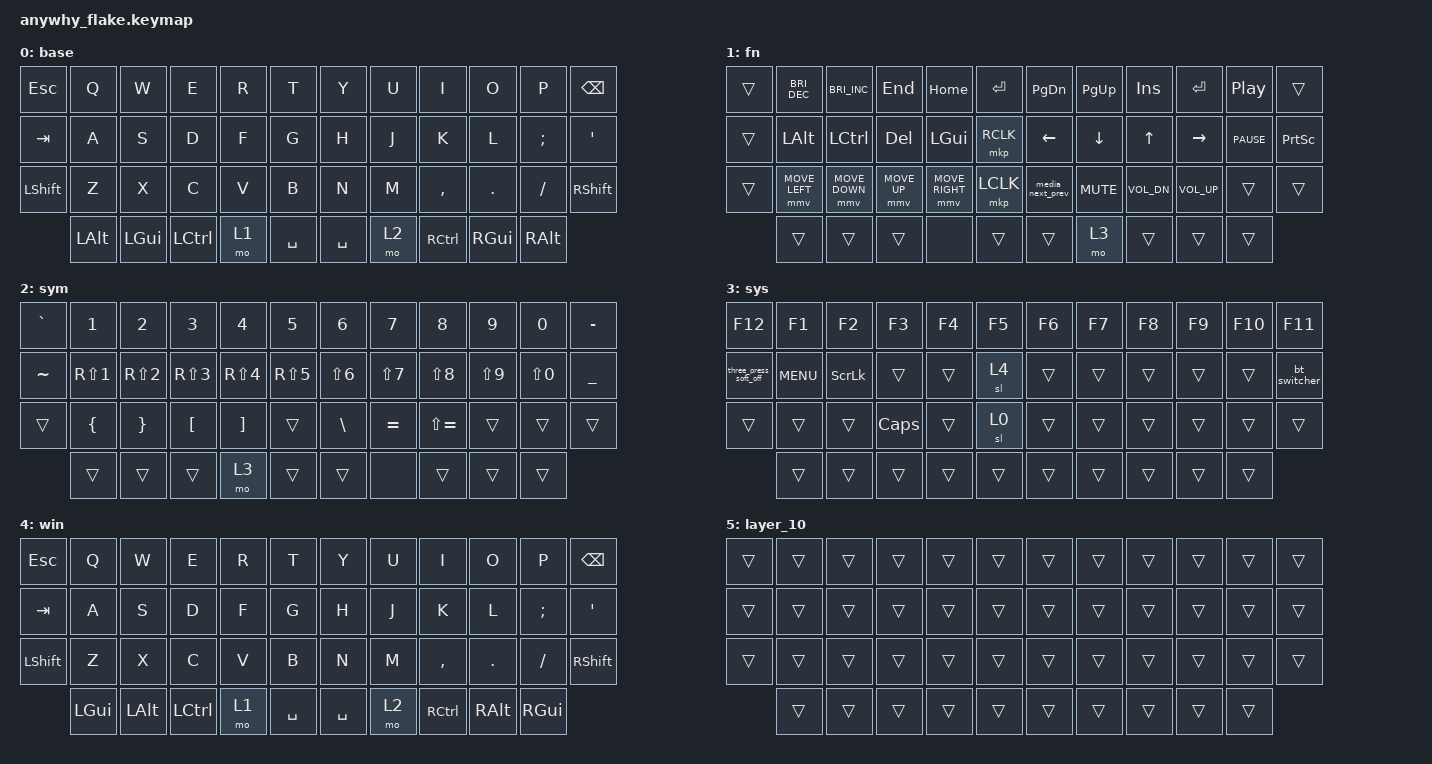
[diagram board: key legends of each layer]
#include <behaviors.dtsi>
#include <dt-bindings/zmk/bt.h>
#include <dt-bindings/zmk/keys.h>
#include <dt-bindings/zmk/pointing.h>

/ {
    combos {
        compatible = "zmk,combos";

        l_studio {
            bindings = <&studio_or_reset 0 0>;
            key-positions = <0 5 39>;
        };

        r_studio {
            bindings = <&studio_or_reset 0 0>;
            key-positions = <6 11 42>;
        };
    };

    macros {
        bt_clr_0: bt_clr_0 {
            compatible = "zmk,behavior-macro";
            #binding-cells = <0>;
            bindings = <&bt BT_SEL 0 &bt BT_CLR>;
            label = "BT_CLR_0";
        };

        bt_clr_1: bt_clr_1 {
            compatible = "zmk,behavior-macro";
            #binding-cells = <0>;
            bindings = <&bt BT_SEL 1 &bt BT_CLR>;
            label = "BT_CLR_1";
        };

        bt_clr_2: bt_clr_2 {
            compatible = "zmk,behavior-macro";
            #binding-cells = <0>;
            bindings = <&bt BT_SEL 2 &bt BT_CLR>;
            label = "BT_CLR_2";
        };

        bt_clr_3: bt_clr_3 {
            compatible = "zmk,behavior-macro";
            #binding-cells = <0>;
            bindings = <&bt BT_SEL 3 &bt BT_CLR>;
            label = "BT_CLR_3";
        };

        bt_clr_4: bt_clr_4 {
            compatible = "zmk,behavior-macro";
            #binding-cells = <0>;
            bindings = <&bt BT_SEL 4 &bt BT_CLR>;
            label = "BT_CLR_4";
        };
    };

    behaviors {
        bt0: bt0 {
            compatible = "zmk,behavior-mod-morph";
            label = "BT0";
            bindings = <&bt BT_SEL 0>, <&bt_clr_0>;

            #binding-cells = <0>;
            mods = <(MOD_LSFT|MOD_RSFT)>;
        };

        bt1: bt1 {
            compatible = "zmk,behavior-mod-morph";
            label = "BT1";
            bindings = <&bt BT_SEL 1>, <&bt_clr_1>;

            #binding-cells = <0>;
            mods = <(MOD_LSFT|MOD_RSFT)>;
        };

        bt2: bt2 {
            compatible = "zmk,behavior-mod-morph";
            label = "BT2";
            bindings = <&bt BT_SEL 2>, <&bt_clr_2>;

            #binding-cells = <0>;
            mods = <(MOD_LSFT|MOD_RSFT)>;
        };

        bt3: bt3 {
            compatible = "zmk,behavior-mod-morph";
            label = "BT3";
            bindings = <&bt BT_SEL 3>, <&bt_clr_3>;

            #binding-cells = <0>;
            mods = <(MOD_LSFT|MOD_RSFT)>;
        };

        bt4: bt4 {
            compatible = "zmk,behavior-mod-morph";
            label = "BT4";
            bindings = <&bt BT_SEL 4>, <&bt_clr_4>;

            #binding-cells = <0>;
            mods = <(MOD_LSFT|MOD_RSFT)>;
        };

        studio_or_reset: studio_or_reset {
            compatible = "zmk,behavior-hold-tap";
            label = "STUDIO_OR_RESET";
            bindings = <&sys_reset>, <&studio_unlock>;

            #binding-cells = <2>;
            tapping-term-ms = <10000>;
        };

        bt_switcher: bt_switcher {
            compatible = "zmk,behavior-tap-dance";
            label = "BT_SWITCHER";
            #binding-cells = <0>;
            bindings = <&bt0>, <&bt1>, <&bt2>, <&bt3>, <&bt4>;

            tapping-term-ms = <300>;
        };

        media_next_prev: media_next_prev {
            compatible = "zmk,behavior-tap-dance";
            label = "MEDIA_NEXT_PREV";
            #binding-cells = <0>;
            bindings = <&kp C_NEXT>, <&kp C_PREV>;

            tapping-term-ms = <300>;
        };

        three_press_soft_off: three_press_soft_off {
            compatible = "zmk,behavior-tap-dance";
            label = "THREE_PRESS_SOFT_OFF";
            #binding-cells = <0>;
            bindings = <&trans>, <&trans>, <&soft_off>;
        };
    };

    keymap {
        compatible = "zmk,keymap";

        base {
            bindings = <
&kp ESCAPE      &kp Q     &kp W     &kp E      &kp R  &kp T        &kp Y      &kp U  &kp I      &kp O     &kp P     &kp BSPC
&kp TAB         &kp A     &kp S     &kp D      &kp F  &kp G        &kp H      &kp J  &kp K      &kp L     &kp SEMI  &kp APOS
&kp LEFT_SHIFT  &kp Z     &kp X     &kp C      &kp V  &kp B        &kp N      &kp M  &kp COMMA  &kp DOT   &kp FSLH  &kp RIGHT_SHIFT
                &kp LALT  &kp LGUI  &kp LCTRL  &mo 1  &kp SPACE    &kp SPACE  &mo 2  &kp RCTRL  &kp RGUI  &kp RALT
            >;
        };

        fn {
            bindings = <
&trans  &kp C_BRIGHTNESS_DEC  &kp C_BRIGHTNESS_INC  &kp END       &kp HOME         &kp RET      &kp PAGE_DOWN     &kp PG_UP   &kp INSERT    &kp RETURN    &kp C_PLAY_PAUSE  &trans
&trans  &kp LEFT_ALT          &kp LCTRL             &kp DELETE    &kp LGUI         &mkp RCLK    &kp LEFT          &kp DOWN    &kp UP_ARROW  &kp RIGHT     &kp C_PAUSE       &kp PRINTSCREEN
&trans  &mmv MOVE_LEFT        &mmv MOVE_DOWN        &mmv MOVE_UP  &mmv MOVE_RIGHT  &mkp LCLK    &media_next_prev  &kp C_MUTE  &kp C_VOL_DN  &kp C_VOL_UP  &trans            &trans
        &trans                &trans                &trans        &none            &trans       &trans            &mo 3       &trans        &trans        &trans
            >;
        };

        sym {
            bindings = <
&kp GRAVE  &kp NUMBER_1      &kp NUMBER_2      &kp NUMBER_3      &kp NUMBER_4       &kp N5        &kp NUMBER_6      &kp N7      &kp N8         &kp N9      &kp N0      &kp MINUS
&kp TILDE  &kp RS(NUMBER_1)  &kp RS(NUMBER_2)  &kp RS(NUMBER_3)  &kp RS(NUMBER_4)   &kp RS(N5)    &kp LS(NUMBER_6)  &kp LS(N7)  &kp LS(N8)     &kp LS(N9)  &kp LS(N0)  &kp UNDER
&trans     &kp LEFT_BRACE    &kp RIGHT_BRACE   &kp LEFT_BRACKET  &kp RIGHT_BRACKET  &trans        &kp BACKSLASH     &kp EQUAL   &kp LS(EQUAL)  &trans      &trans      &trans
           &trans            &trans            &trans            &mo 3              &trans        &trans            &none       &trans         &trans      &trans
            >;
        };

        sys {
            bindings = <
&kp F12                &kp F1      &kp F2          &kp F3    &kp F4  &kp F5    &kp F6  &kp F7  &kp F8  &kp F9  &kp F10  &kp F11
&three_press_soft_off  &kp C_MENU  &kp SCROLLLOCK  &trans    &trans  &sl 4     &trans  &trans  &trans  &trans  &trans   &bt_switcher
&trans                 &trans      &trans          &kp CLCK  &trans  &sl 0     &trans  &trans  &trans  &trans  &trans   &trans
                       &trans      &trans          &trans    &trans  &trans    &trans  &trans  &trans  &trans  &trans
            >;
        };

        win {
            bindings = <
&kp ESCAPE      &kp Q     &kp W     &kp E      &kp R  &kp T        &kp Y      &kp U  &kp I      &kp O     &kp P     &kp BSPC
&kp TAB         &kp A     &kp S     &kp D      &kp F  &kp G        &kp H      &kp J  &kp K      &kp L     &kp SEMI  &kp APOS
&kp LEFT_SHIFT  &kp Z     &kp X     &kp C      &kp V  &kp B        &kp N      &kp M  &kp COMMA  &kp DOT   &kp FSLH  &kp RIGHT_SHIFT
                &kp LGUI  &kp LALT  &kp LCTRL  &mo 1  &kp SPACE    &kp SPACE  &mo 2  &kp RCTRL  &kp RALT  &kp RGUI
            >;
        };

        extra1 { status = "reserved"; };

        extra2 { status = "reserved"; };

        extra3 { status = "reserved"; };

        extra4 { status = "reserved"; };

        extra5 { status = "reserved"; };

        layer_10 {
            bindings = <
&trans  &trans  &trans  &trans  &trans  &trans    &trans  &trans  &trans  &trans  &trans  &trans
&trans  &trans  &trans  &trans  &trans  &trans    &trans  &trans  &trans  &trans  &trans  &trans
&trans  &trans  &trans  &trans  &trans  &trans    &trans  &trans  &trans  &trans  &trans  &trans
        &trans  &trans  &trans  &trans  &trans    &trans  &trans  &trans  &trans  &trans
            >;
        };
    };
};
